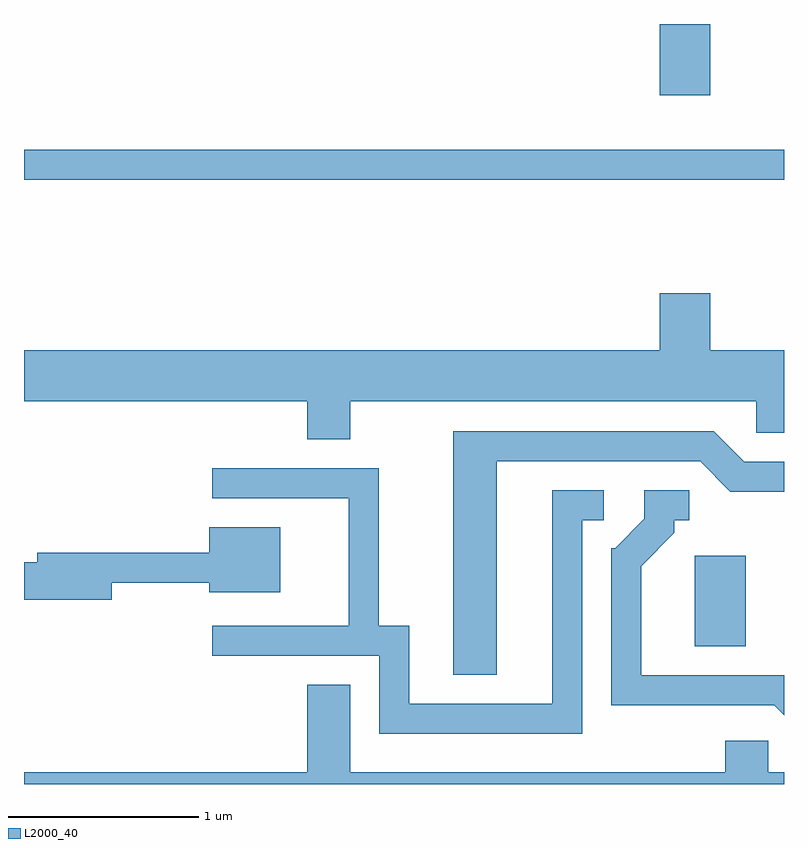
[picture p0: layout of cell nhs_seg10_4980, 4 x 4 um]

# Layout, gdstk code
import gdstk
lib = gdstk.Library(unit=1e-6, precision=1e-09)
def R(c, l, rs):  # rectangles x0, y0, x1, y1
    for r in rs: c.add(gdstk.rectangle(r[:2], r[2:], *l))
def P(c, l, *ps):  # polygons
    for p in ps: c.add(gdstk.Polygon(p, *l))
L2000_40 = (2000, 40)

nhs_seg10_4980 = lib.new_cell('nhs_seg10_4980')
R(nhs_seg10_4980, L2000_40, [(335.141,2159.246,335.409,2159.724), (331.611,2161.701,335.611,2161.859), (334.956,2162.146,335.224,2162.522)])
P(nhs_seg10_4980, L2000_40, [(333.329,2160.536),(335.466,2160.536),(335.466,2160.371),(335.611,2160.371),(335.611,2160.804),(335.224,2160.804),(335.224,2161.104),(334.956,2161.104),(334.956,2160.804),(331.611,2160.804),(331.611,2160.536),(333.101,2160.536),(333.101,2160.336),(333.329,2160.336)],
  [(334.099,2160.221),(335.169,2160.221),(335.329,2160.061),(335.611,2160.061),(335.611,2160.219),(335.402,2160.219),(335.242,2160.379),(333.871,2160.379),(333.871,2159.096),(334.099,2159.096)],
  [(334.549,2159.911),(334.663,2159.911),(334.663,2160.069),(334.391,2160.069),(334.391,2158.944),(333.639,2158.944),(333.639,2159.354),(333.479,2159.354),(333.479,2160.184),(332.603,2160.184),(332.603,2160.026),(333.321,2160.026),(333.321,2159.354),(332.603,2159.354),(332.603,2159.196),(333.481,2159.196),(333.481,2158.786),(334.549,2158.786)],
  [(335.611,2159.094),(334.859,2159.094),(334.859,2159.669),(335.034,2159.844),(335.034,2159.911),(335.113,2159.911),(335.113,2160.069),(334.876,2160.069),(334.876,2159.917),(334.724,2159.764),(334.701,2159.764),(334.701,2158.936),(335.559,2158.936),(335.611,2158.884)],
  [(332.074,2159.581),(332.586,2159.581),(332.586,2159.531),(332.959,2159.531),(332.959,2159.874),(332.586,2159.874),(332.586,2159.739),(331.681,2159.739),(331.681,2159.689),(331.611,2159.689),(331.611,2159.491),(332.074,2159.491)],
  [(335.611,2158.584),(335.529,2158.584),(335.529,2158.749),(335.301,2158.749),(335.301,2158.584),(333.329,2158.584),(333.329,2159.044),(333.101,2159.044),(333.101,2158.584),(331.611,2158.584),(331.611,2158.522),(335.611,2158.522)])

lib.write_gds('nhs_seg10_4980.gds')
